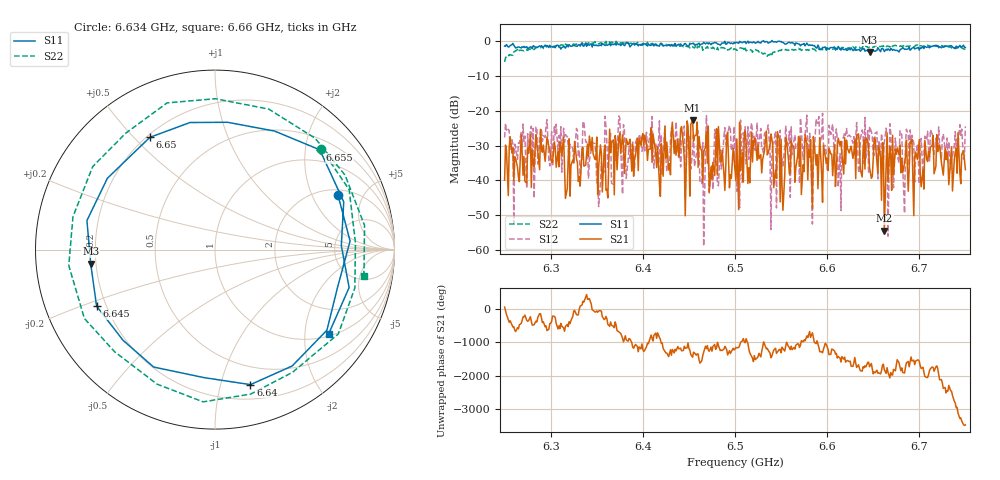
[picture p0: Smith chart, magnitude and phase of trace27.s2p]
# Hz S RI R 50
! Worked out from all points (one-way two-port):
!   401 points, 6.25 GHz to 6.75 GHz, reference 50 ohm
!   highest |S21| = -22.70 dB at 6.454 GHz (marker M1); lowest = -54.5 dB at 6.662 GHz (marker M2)
!   lowest |S11| = -3.1 dB at 6.646 GHz (marker M3), VSWR 5.60, Z = 8.96 - j2.75 ohm
!   |S11| at or under -10 dB: nowhere
!   |S22| runs from -6.0 to -0.1 dB; largest |S21 - S12| = 0.13
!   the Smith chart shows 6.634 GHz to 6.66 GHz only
!   S11 on the Smith chart (normalised r, x): 6.634 GHz: 2.28, +3.17; 6.64 GHz: 0.33, -1.24; 6.645 GHz: 0.16, -0.22; 6.65 GHz: 0.21, +0.56; 6.655 GHz: 0.73, +2.31; 6.66 GHz: 1.07, -2.65
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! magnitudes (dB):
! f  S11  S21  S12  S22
! 6.25 GHz  -1.4  -39.9  -27.7  -6.0
! 6.334 GHz  -0.5  -30.9  -33.5  -0.6
! 6.352 GHz  -1.3  -36.2  -47.5  -0.9
! 6.361 GHz  -1.2  -42.6  -29.5  -0.8
! 6.401 GHz  -0.9  -30.2  -30.3  -0.4
! 6.418 GHz  -1.5  -41.0  -22.9  -1.1
! 6.454 GHz  -0.7  -22.7  -31.9  -1.7
! 6.464 GHz  -0.8  -31.8  -40.9  -1.3
! 6.5 GHz  -0.6  -37.2  -35.2  -2.3
! 6.584 GHz  -1.2  -48.0  -52.5  -2.2
! 6.59 GHz  -1.1  -42.4  -23.6  -2.3
! 6.614 GHz  -2.3  -30.0  -32.2  -2.3
! 6.634 GHz  -2.5  -26.6  -37.0  -1.8
! 6.64 GHz  -2.2  -28.3  -35.2  -1.8
! 6.645 GHz  -2.7  -30.9  -38.0  -2.0
! 6.646 GHz  -3.1  -36.4  -24.5  -1.7
! 6.65 GHz  -2.8  -33.7  -32.5  -1.7
! 6.655 GHz  -1.9  -38.0  -39.6  -1.5
! 6.66 GHz  -2.1  -29.1  -29.6  -1.5
! 6.662 GHz  -3.0  -54.5  -29.1  -1.9
! 6.668 GHz  -2.7  -30.3  -23.7  -1.7
! 6.75 GHz  -1.8  -36.9  -24.5  -2.3
